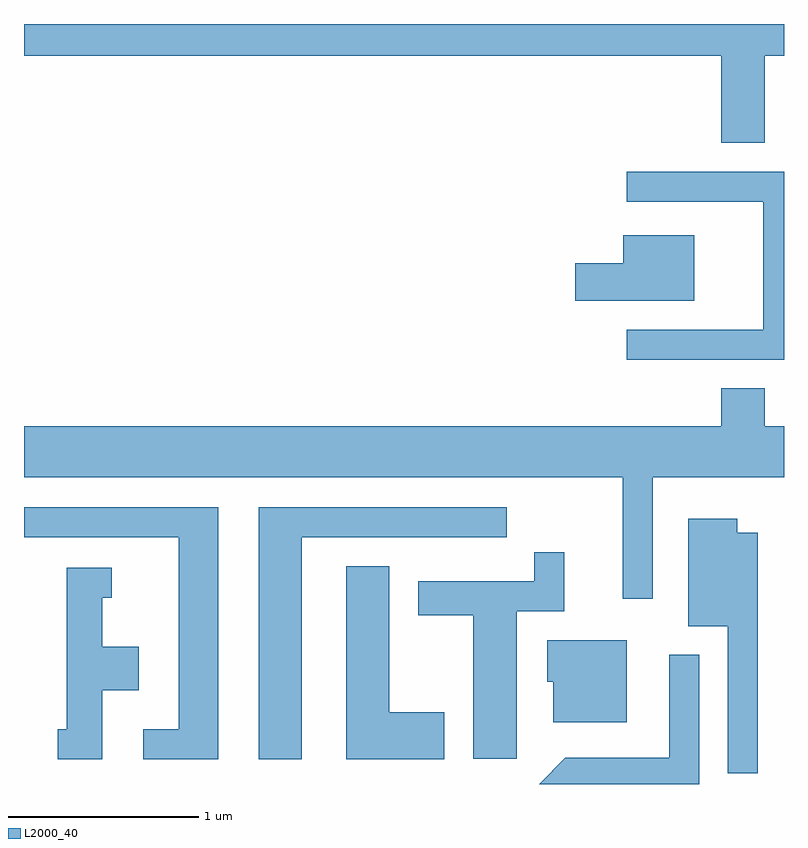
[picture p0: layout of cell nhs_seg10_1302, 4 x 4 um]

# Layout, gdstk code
import gdstk
lib = gdstk.Library(unit=1e-6, precision=1e-09)
def P(c, l, *ps):  # polygons
    for p in ps: c.add(gdstk.Polygon(p, *l))
L2000_40 = (2000, 40)

nhs_seg10_1302 = lib.new_cell('nhs_seg10_1302')
P(nhs_seg10_1302, L2000_40, [(227.509,2118.356),(227.611,2118.356),(227.611,2118.522),(223.611,2118.522),(223.611,2118.356),(227.281,2118.356),(227.281,2117.896),(227.509,2117.896)],
  [(227.611,2117.744),(226.783,2117.744),(226.783,2117.586),(227.501,2117.586),(227.501,2116.914),(226.783,2116.914),(226.783,2116.756),(227.611,2116.756)],
  [(227.139,2117.409),(226.766,2117.409),(226.766,2117.264),(226.511,2117.264),(226.511,2117.066),(227.139,2117.066)],
  [(226.919,2116.136),(227.611,2116.136),(227.611,2116.404),(227.509,2116.404),(227.509,2116.604),(227.281,2116.604),(227.281,2116.404),(223.611,2116.404),(223.611,2116.136),(226.761,2116.136),(226.761,2115.498),(226.919,2115.498)],
  [(224.634,2115.979),(223.611,2115.979),(223.611,2115.821),(224.426,2115.821),(224.426,2114.809),(224.238,2114.809),(224.238,2114.651),(224.634,2114.651)],
  [(225.074,2115.821),(226.153,2115.821),(226.153,2115.979),(224.846,2115.979),(224.846,2114.651),(225.074,2114.651)],
  [(227.474,2115.844),(227.364,2115.844),(227.364,2115.919),(227.106,2115.919),(227.106,2115.351),(227.316,2115.351),(227.316,2114.578),(227.474,2114.578)],
  [(226.204,2115.431),(226.454,2115.431),(226.454,2115.743),(226.296,2115.743),(226.296,2115.589),(225.686,2115.589),(225.686,2115.411),(225.976,2115.411),(225.976,2114.656),(226.204,2114.656)],
  [(225.824,2114.899),(225.534,2114.899),(225.534,2115.669),(225.306,2115.669),(225.306,2114.651),(225.824,2114.651)],
  [(224.024,2115.016),(224.214,2115.016),(224.214,2115.244),(224.024,2115.244),(224.024,2115.501),(224.073,2115.501),(224.073,2115.659),(223.836,2115.659),(223.836,2114.809),(223.788,2114.809),(223.788,2114.651),(224.024,2114.651)],
  [(226.784,2115.279),(226.366,2115.279),(226.366,2115.061),(226.396,2115.061),(226.396,2114.846),(226.784,2114.846)],
  [(227.164,2115.203),(227.006,2115.203),(227.006,2114.659),(226.459,2114.659),(226.322,2114.522),(227.164,2114.522)])

lib.write_gds('nhs_seg10_1302.gds')
